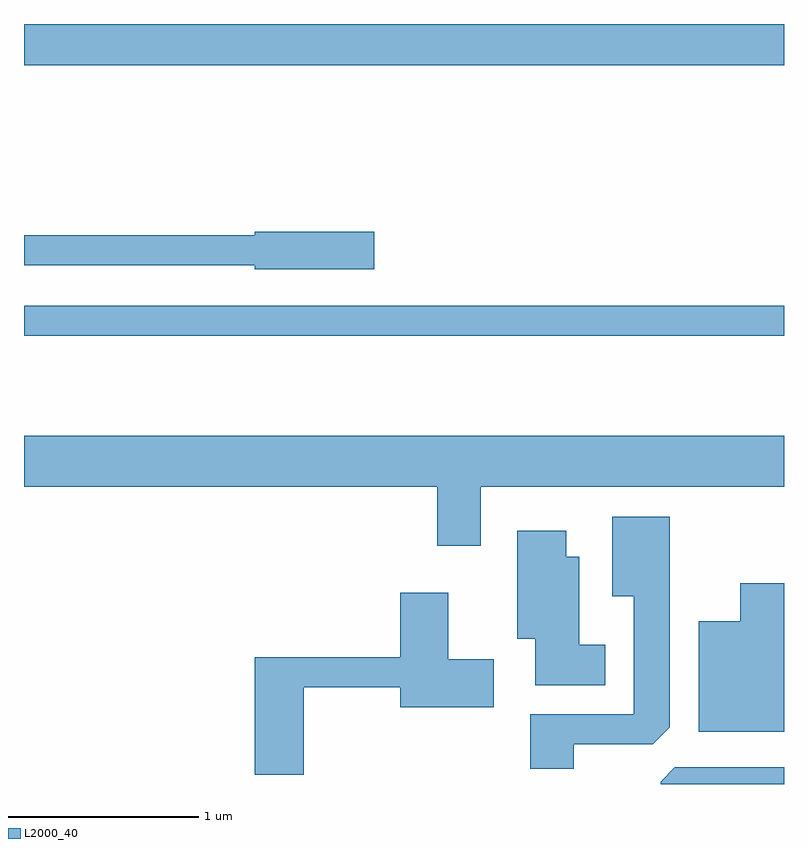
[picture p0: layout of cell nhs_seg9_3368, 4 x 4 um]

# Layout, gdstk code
import gdstk
lib = gdstk.Library(unit=1e-6, precision=1e-09)
def R(c, l, rs):  # rectangles x0, y0, x1, y1
    for r in rs: c.add(gdstk.rectangle(r[:2], r[2:], *l))
def P(c, l, *ps):  # polygons
    for p in ps: c.add(gdstk.Polygon(p, *l))
L2000_40 = (2000, 40)

nhs_seg9_3368 = lib.new_cell('nhs_seg9_3368')
R(nhs_seg9_3368, L2000_40, [(283.611,2034.791,287.611,2034.949), (283.611,2036.216,287.611,2036.432)])
P(nhs_seg9_3368, L2000_40, [(285.454,2035.339),(284.826,2035.339),(284.826,2035.319),(283.611,2035.319),(283.611,2035.161),(284.826,2035.161),(284.826,2035.141),(285.454,2035.141)],
  [(286.014,2033.996),(287.611,2033.996),(287.611,2034.264),(283.611,2034.264),(283.611,2033.996),(285.786,2033.996),(285.786,2033.686),(286.014,2033.686)],
  [(286.504,2032.641),(286.919,2032.641),(287.009,2032.732),(287.009,2033.839),(286.706,2033.839),(286.706,2033.421),(286.821,2033.421),(286.821,2032.799),(286.276,2032.799),(286.276,2032.511),(286.504,2032.511)],
  [(286.669,2033.164),(286.534,2033.164),(286.534,2033.629),(286.464,2033.629),(286.464,2033.764),(286.206,2033.764),(286.206,2033.196),(286.301,2033.196),(286.301,2032.951),(286.669,2032.951)],
  [(287.611,2033.489),(287.381,2033.489),(287.381,2033.289),(287.161,2033.289),(287.161,2032.706),(287.611,2032.706)],
  [(285.084,2032.941),(285.591,2032.941),(285.591,2032.836),(286.084,2032.836),(286.084,2033.089),(285.844,2033.089),(285.844,2033.439),(285.591,2033.439),(285.591,2033.099),(284.826,2033.099),(284.826,2032.481),(285.084,2032.481)],
  [(287.611,2032.519),(287.037,2032.519),(286.961,2032.444),(286.961,2032.432),(287.611,2032.432)])

lib.write_gds('nhs_seg9_3368.gds')
